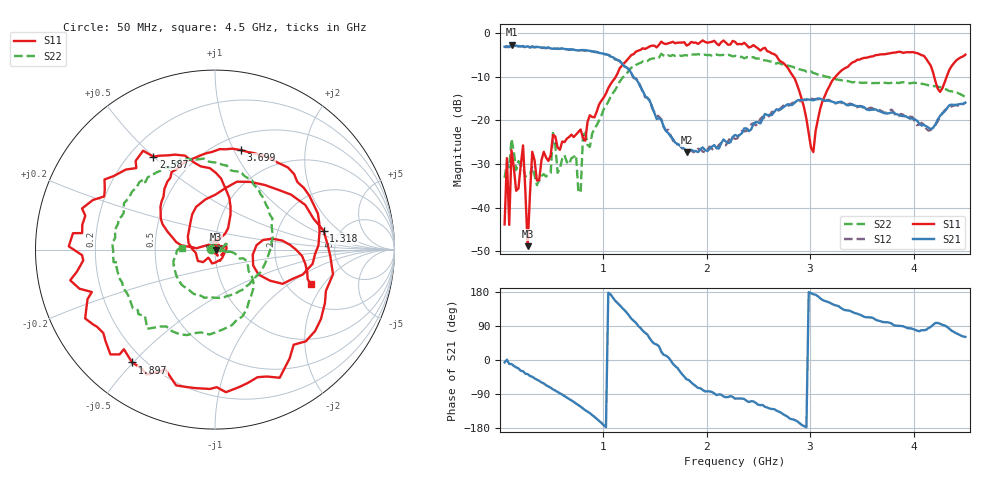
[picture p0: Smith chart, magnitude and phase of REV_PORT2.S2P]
! Network Analyzer HP8722ES.07.74: Oct 30, 2002 Serial No. US39175660
! Hewlett-Packard
! 30 May 2012  18:15:59
! Frequency  S11  S21  S12  S22
# HZ  S  DB R  50
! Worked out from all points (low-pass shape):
!   201 points, 50 MHz to 4.5 GHz, reference 50 ohm
!   highest |S21| = -2.64 dB at 116.8 MHz (marker M1); lowest = -27.3 dB at 1.808 GHz (marker M2)
!   |S21| within 3 dB of the highest: start of sweep to 1.103 GHz
!   lowest |S11| = -48.9 dB at 272.5 MHz (marker M3), VSWR 1.01, Z = 50.4 - j0.0758 ohm
!   |S11| at or under -10 dB: start of sweep to 1.124 GHz; 2.839 GHz to 3.245 GHz (405.6 MHz wide, 13.3 % of centre); 4.199 GHz to 4.319 GHz (120.1 MHz wide, 2.82 % of centre)
!   |S22| runs from -36.6 to -4.7 dB; largest |S21 - S12| = 0.025
!   S11 on the Smith chart (normalised r, x): 50 MHz: 0.99, +0.00; 1.318 GHz: 3.74, +1.25; 1.897 GHz: 0.15, -0.50; 2.587 GHz: 0.30, +0.50; 3.699 GHz: 0.65, +1.07; 4.5 GHz: 2.67, -1.51
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5e7  -43.85 164.9  -3.10 -6.4  -3.19 -6.9  -33.19 174.9
7.225e7  -28.66 -66.9  -2.98 0.9  -3.18 -0.7  -29.69 -150.0
9.45e7  -43.97 -99.4  -3.17 -10.6  -3.18 -11.4  -30.77 174.3
1.1675e8  -26.84 99.5  -2.64 -10.5  -2.91 -11.2  -24.29 114.3
1.6125e8  -36.14 -93.4  -2.85 -19.3  -2.99 -20.6  -31.38 -151.5
2.28e8  -25.74 83.2  -2.94 -29.6  -3.07 -30.2  -30.67 109.8
2.725e8  -48.85 -12.0  -3.00 -37.2  -3.09 -37.7  -32.43 167.9
3.17e8  -27.20 68.2  -3.02 -44.3  -3.16 -44.8  -30.60 91.8
5.1725e8  -23.33 28.2  -3.57 -77.6  -3.48 -77.7  -22.86 25.5
7.8425e8  -22.09 -102.0  -3.89 -123.0  -3.91 -123.0  -36.56 -33.0
8.065e8  -24.04 -117.4  -3.86 -127.8  -3.97 -128.0  -23.85 -2.9
1.31825e9  -4.23 9.8  -10.46 98.1  -10.47 100.3  -7.30 -77.5
1.54075e9  -2.67 -55.6  -19.49 36.4  -19.14 32.8  -5.60 -125.3
1.80775e9  -2.84 -112.7  -27.29 -50.9  -26.83 -53.4  -5.07 -170.6
1.89675e9  -2.16 -126.3  -27.05 -68.9  -27.10 -66.0  -4.92 -179.7
2.275e9  -1.98 173.4  -23.35 -102.0  -24.25 -100.8  -5.19 132.9
2.5865e9  -4.14 123.5  -18.77 -125.4  -19.49 -126.0  -6.32 87.8
3.0315e9  -27.27 140.3  -15.40 173.4  -15.16 172.7  -9.14 25.1
3.2095e9  -11.07 159.7  -15.67 148.4  -15.78 148.4  -10.32 -1.6
3.699e9  -4.84 75.4  -18.16 100.4  -17.96 101.2  -11.39 -82.7
3.76575e9  -4.64 63.5  -18.34 98.5  -17.69 98.6  -11.46 -93.6
4.5e9  -4.92 -19.8  -15.93 61.1  -15.93 62.0  -14.64 177.8
